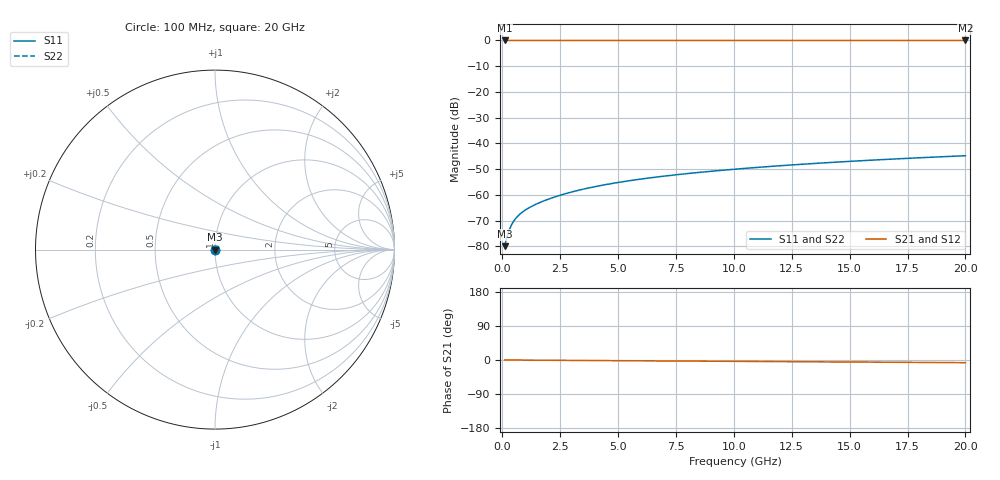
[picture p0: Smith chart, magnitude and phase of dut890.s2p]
! Touchstone file exported from HFSS 2026.1.0
!  File:  C:/ffzhzh/LocalFiles/Ansys_Project_Files/temp_train_TSV_890_1783185934_18472.aedt
!  Generated:  01:27:17 AM Jul  5, 2026
!  Design:  TSV
!  Project:  temp_train_TSV_890_1783185934_18472
! Variables:
!  h_bsmrdl = 2um
!  h_ox = 20um
!  h_rdl = 5um
!  h_sub = 66.96um
!  h_tmrdl = 5um
!  h_tsv = 66.96um
!  h_via = 3um
!  l_bsmrdl = 300um
!  l_sub = 425.54um
!  l_tmrdl = 200um
!  m_sub = 200um
!  pitch = 53.12um
!  r_tsv = 12.77um
!  s_tmrdl = 10um
!  w_bsmrdl = 18um
!  w_sub = 500um
!  w_tmrdl = 12um
!  x_tsv_center1 = 206um
!  x_tsv_center2 = 524um
!  x_tsv_center3 = 736um
!  x_tsv_center4 = 1054um
!  x_tsv_center5 = 1266um
!  x_tsv_center6 = 1584um
# GHz S MA R 50.000000
! Terminal data exported
! Port[1] = TSV1_1_T1
! Port[2] = TSV1_1_T2
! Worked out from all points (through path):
!   200 points, 100 MHz to 20 GHz, reference 50 ohm
!   highest |S21| = 0.00 dB at 100 MHz (marker M1); lowest = 0.0 dB at 20 GHz (marker M2)
!   lowest |S11| = -80.0 dB at 100 MHz (marker M3), VSWR 1.00, Z = 50 + j0.00633 ohm
!   |S11| at or under -10 dB: start of sweep to end of sweep
!   |S22| runs from -80.0 to -44.8 dB; largest |S21 - S12| = 2.1e-15
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0.1  0.0001003 39.1  0.9999 -0.0  0.9999 -0.0  0.0001003 39.1
! Gamma 0 0 0 0
! Port Impedance 50 0 50 0
0.2  0.0001523 54.4  0.9999 -0.1  0.9999 -0.1  0.0001523 54.4
0.3  0.0002079 59.8  0.9999 -0.1  0.9999 -0.1  0.0002079 59.8
0.4  0.0002611 61.9  0.9999 -0.1  0.9999 -0.1  0.0002611 61.9
0.5  0.0003104 62.6  0.9999 -0.2  0.9999 -0.2  0.0003104 62.6
0.6  0.0003556 62.9  0.9998 -0.2  0.9998 -0.2  0.0003556 62.9
0.7  0.0003973 63.1  0.9998 -0.3  0.9998 -0.3  0.0003973 63.1
0.9  0.0004727 63.5  0.9998 -0.3  0.9998 -0.3  0.0004727 63.5
1.1  0.0005412 64.1  0.9998 -0.4  0.9998 -0.4  0.0005412 64.1
1.3  0.0006062 64.9  0.9997 -0.5  0.9997 -0.5  0.0006062 64.9
1.6  0.0007009 66.2  0.9997 -0.6  0.9997 -0.6  0.0007009 66.2
1.9  0.0007944 67.4  0.9997 -0.7  0.9997 -0.7  0.0007944 67.4
2.6  0.001012 69.6  0.9997 -0.9  0.9997 -0.9  0.001012 69.6
3.5  0.001289 71.4  0.9996 -1.2  0.9996 -1.2  0.001289 71.4
4.2  0.0015 72.2  0.9996 -1.5  0.9996 -1.5  0.0015 72.2
5  0.001737 72.8  0.9995 -1.8  0.9995 -1.8  0.001737 72.8
6.8  0.002253 73.7  0.9995 -2.4  0.9995 -2.4  0.002253 73.7
8.3  0.00267 74.1  0.9994 -2.9  0.9994 -2.9  0.00267 74.1
10.1  0.003162 74.4  0.9993 -3.6  0.9993 -3.6  0.003162 74.4
13.4  0.004045 74.5  0.9992 -4.7  0.9992 -4.7  0.004045 74.5
16.7  0.004909 74.2  0.9991 -5.9  0.9991 -5.9  0.004909 74.2
20  0.005747 73.6  0.999 -7.1  0.999 -7.1  0.005747 73.6
